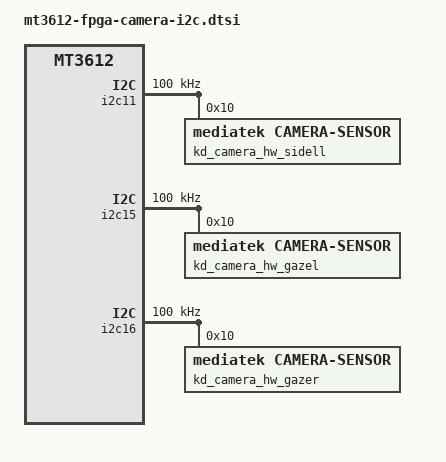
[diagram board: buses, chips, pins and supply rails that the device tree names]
/*
 * Copyright (c) 2018 MediaTek Inc.
 * Author: Yung-Chi Chen <yung-chi.chen@mediatek.com>
 *
 * This program is free software; you can redistribute it and/or modify
 * it under the terms of the GNU General Public License version 2 as
 * published by the Free Software Foundation.
 *
 * This program is distributed in the hope that it will be useful,
 * but WITHOUT ANY WARRANTY; without even the implied warranty of
 * MERCHANTABILITY or FITNESS FOR A PARTICULAR PURPOSE.  See the
 * GNU General Public License for more details.
 */
#include <dt-bindings/camera.h>

&pio {
	/* Side-0(LL) */
	/*
	* camera_pins_cam_side_ll_clk: cam_side_ll_0 {
	*	pins_cmd_dat {
	*		pinmux = <MT3611_PIN_11_GPIO11__FUNC_CSIDIOS0_CAMCLK_N>;
	*		drive-strength = <MTK_DRIVE_8mA>;
	*	};
	*};
	*
	*camera_pins_cam_side_ll_vsync: cam_side_ll_1 {
	*	pins_cmd_dat {
	*		pinmux = <MT3611_PIN_14_GPIO14__FUNC_CSIDIOS01_VSYNC>;
	*		drive-strength = <MTK_DRIVE_8mA>;
	*	};
	*};
	*
	*camera_pins_cam_side_ll_gpio_14: cam_side_ll_2 {
	*	pins_cmd_dat {
	*		pinmux = <MT3611_PIN_14_GPIO14__FUNC_GPIO14>;
	*		drive-strength = <MTK_DRIVE_8mA>;
	*		input-enable;
	*	};
	*};
	*/
	/* Side-1(LR) */
	/*
	*camera_pins_cam_side_lr_clk: cam_side_lr_0 {
	*	pins_cmd_dat {
	*		pinmux = <MT3611_PIN_15_GPIO15__FUNC_CSIDIOS1_CAMCLK_N>;
	*		drive-strength = <MTK_DRIVE_8mA>;
	*	};
	*};
	*camera_pins_cam_side_lr_vsync: cam_side_lr_1 {
	*	pins_cmd_dat {
	*		pinmux = <MT3611_PIN_14_GPIO14__FUNC_CSIDIOS01_VSYNC>;
	*		drive-strength = <MTK_DRIVE_8mA>;
	*	};
	*};
	*camera_pins_cam_side_lr_gpio_14: cam_side_lr_2 {
	*	pins_cmd_dat {
	*		pinmux = <MT3611_PIN_14_GPIO14__FUNC_GPIO14>;
	*		drive-strength = <MTK_DRIVE_8mA>;
	*		input-enable;
	*	};
	*};
	*/
	/* Side-2(RL) */
	/*
	*camera_pins_cam_side_rl_clk: cam_side_rl_0 {
	*	pins_cmd_dat {
	*		pinmux = <MT3611_PIN_33_GPIO33__FUNC_CSIDIOS2_CAMCLK_N>;
	*		drive-strength = <MTK_DRIVE_8mA>;
	*	};
	*};
	*camera_pins_cam_side_rl_vsync: cam_side_rl_1 {
	*	pins_cmd_dat {
	*		pinmux = <MT3611_PIN_36_GPIO36__FUNC_CSIDIOS23_VSYNC>;
	*		drive-strength = <MTK_DRIVE_8mA>;
	*	};
	*};
	*camera_pins_cam_side_rl_gpio_36: cam_side_rl_2 {
	*	pins_cmd_dat {
	*		pinmux = <MT3611_PIN_36_GPIO36__FUNC_GPIO36>;
	*		drive-strength = <MTK_DRIVE_8mA>;
	*		input-enable;
	*	};
	*};
	*/
	/* Side-3(RR) */
	/*
	*camera_pins_cam_side_rr_clk: cam_side_rr_0 {
	*	pins_cmd_dat {
	*		pinmux = <MT3611_PIN_37_GPIO37__FUNC_CSIDIOS3_CAMCLK_N>;
	*		drive-strength = <MTK_DRIVE_8mA>;
	*	};
	*};
	*camera_pins_cam_side_rr_vsync: cam_side_rr_1 {
	*	pins_cmd_dat {
	*		pinmux = <MT3611_PIN_36_GPIO36__FUNC_CSIDIOS23_VSYNC>;
	*		drive-strength = <MTK_DRIVE_8mA>;
	*	};
	*};
	*camera_pins_cam_side_rr_gpio_36: cam_side_rr_2 {
	*	pins_cmd_dat {
	*		pinmux = <MT3611_PIN_36_GPIO36__FUNC_GPIO36>;
	*		drive-strength = <MTK_DRIVE_8mA>;
	*		input-enable;
	*	};
	*};
	*/
	/* Gaze-0 */
	/*
	*camera_pins_cam_gaze_l_clk: cam_gaze_l_0 {
	*	pins_cmd_dat {
	*		pinmux = <MT3611_PIN_25_GPIO25__FUNC_CSIDIOG0_CAMCLK_N>;
	*		drive-strength = <MTK_DRIVE_8mA>;
	*	};
	*};
	*camera_pins_cam_gaze_l_vsync: cam_gaze_l_1 {
	*	pins_cmd_dat {
	*		pinmux =
	*		<MT3611_PIN_22_GPIO22__FUNC_CSIDIOG_VSYNC>;
	*		drive-strength = <MTK_DRIVE_8mA>;
	*	};
	*};
	*camera_pins_cam_gaze_l_gpio_22: cam_gaze_l_2 {
	*	pins_cmd_dat {
	*		pinmux =
	*		<MT3611_PIN_22_GPIO22__FUNC_GPIO22>;
	*		drive-strength = <MTK_DRIVE_8mA>;
	*		input-enable;
	*	};
	*};
	*/
	/* Gaze-1 */
	/*
	*camera_pins_cam_gaze_r_clk: cam_gaze_r_0 {
	*	pins_cmd_dat {
	*		pinmux = <MT3611_PIN_28_GPIO28__FUNC_CSIDIOG1_CAMCLK_N>;
	*		drive-strength = <MTK_DRIVE_8mA>;
	*	};
	*};
	*camera_pins_cam_gaze_r_vsync: cam_gaze_r_1 {
	*	pins_cmd_dat {
	*		pinmux =
	*		<MT3611_PIN_22_GPIO22__FUNC_CSIDIOG_VSYNC>;
	*		drive-strength = <MTK_DRIVE_8mA>;
	*	};
	*};
	*camera_pins_cam_gaze_r_gpio_22: cam_gaze_r_2 {
	*	pins_cmd_dat {
	*		pinmux =
	*		<MT3611_PIN_22_GPIO22__FUNC_GPIO22>;
	*		drive-strength = <MTK_DRIVE_8mA>;
	*		input-enable;
	*	};
	*};
	*/
};

&i2c11 {
	status = "okay";
	clock-frequency = <100000>;
	kd_camera_hw_sidell@10 {
		compatible = "mediatek,camera-sensor";
		reg = <0x10>;
		sensorIdx = <MTK_CAMERA_SIDE_LL>;
		clocks = <&topckgen CLK_TOP_SENM3_SEL>,
		<&topckgen TOPCKGEN_SENM3_CG>,
		<&topckgen CLK_TOP_CLK26M_CK>,
		<&topckgen CLK_TOP_UNIVPLL_D52>;
		clock-names = "senm_sel", "senm_cg",
			      "clk26m", "univpll_d52";
	};
};
&i2c15 {
	status = "okay";
	clock-frequency = <100000>;
	kd_camera_hw_gazel@10 {
		compatible = "mediatek,camera-sensor";
		reg = <0x10>;
		sensorIdx = <MTK_CAMERA_GAZE_L>;
		clocks = <&topckgen CLK_TOP_SENM7_SEL>,
		<&topckgen TOPCKGEN_SENM7_CG>,
		<&topckgen CLK_TOP_CLK26M_CK>,
		<&topckgen CLK_TOP_UNIVPLL_D52>;
		clock-names = "senm_sel", "senm_cg",
			      "clk26m", "univpll_d52";
	};
};
&i2c16 {
	status = "okay";
	clock-frequency = <100000>;
	kd_camera_hw_gazer@10 {
		compatible = "mediatek,camera-sensor";
		reg = <0x10>;
		sensorIdx = <MTK_CAMERA_GAZE_R>;
		clocks = <&topckgen CLK_TOP_SENM8_SEL>,
		<&topckgen TOPCKGEN_SENM8_CG>,
		<&topckgen CLK_TOP_CLK26M_CK>,
		<&topckgen CLK_TOP_UNIVPLL_D52>;
		clock-names = "senm_sel", "senm_cg",
			      "clk26m", "univpll_d52";
	};
};

